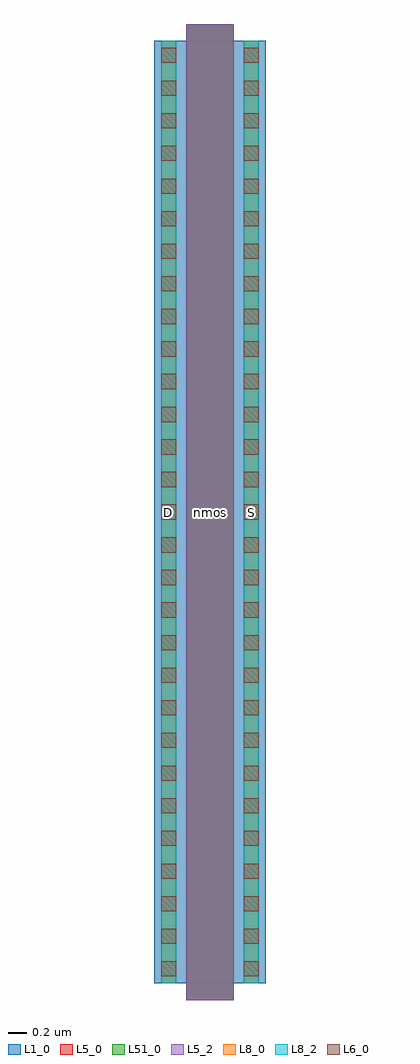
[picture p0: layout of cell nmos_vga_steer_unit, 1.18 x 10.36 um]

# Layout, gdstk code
import gdstk
lib = gdstk.Library(unit=1e-6, precision=1e-09)
def R(c, l, rs):  # rectangles x0, y0, x1, y1
    for r in rs: c.add(gdstk.rectangle(r[:2], r[2:], *l))
def A(c, l, x, y, w, h, nx, ny, dx, dy):  # array of equal rectangles
    R(c, l, [(x+i*dx, y+j*dy, x+i*dx+w, y+j*dy+h) for i in range(nx) for j in range(ny)])
L1_0 = (1, 0)
L5_0 = (5, 0)
L5_2 = (5, 2)
L6_0 = (6, 0)
L8_0 = (8, 0)
L8_2 = (8, 2)
L51_0 = (51, 0)

nmos_vga_steer_unit = lib.new_cell('nmos_vga_steer_unit')
R(nmos_vga_steer_unit, L1_0, [(0,0,0.3,0.3), (0,0,1.18,10), (0.88,0,1.18,0.3)])
R(nmos_vga_steer_unit, L5_0, [(0.34,-0.18,0.84,10.18)])
R(nmos_vga_steer_unit, L5_2, [(0.34,-0.18,0.84,10.18)])
A(nmos_vga_steer_unit, L6_0, 0.07, 0.07, 0.16, 0.16, 1, 4, 0, 0.345)
A(nmos_vga_steer_unit, L6_0, 0.95, 0.07, 0.16, 0.16, 1, 4, 0, 0.345)
A(nmos_vga_steer_unit, L6_0, 0.07, 1.455, 0.16, 0.16, 1, 3, 0, 0.345)
A(nmos_vga_steer_unit, L6_0, 0.95, 1.455, 0.16, 0.16, 1, 3, 0, 0.345)
A(nmos_vga_steer_unit, L6_0, 0.07, 2.495, 0.16, 0.16, 1, 4, 0, 0.345)
A(nmos_vga_steer_unit, L6_0, 0.95, 2.495, 0.16, 0.16, 1, 4, 0, 0.345)
A(nmos_vga_steer_unit, L6_0, 0.07, 3.88, 0.16, 0.16, 1, 3, 0, 0.345)
A(nmos_vga_steer_unit, L6_0, 0.95, 3.88, 0.16, 0.16, 1, 3, 0, 0.345)
A(nmos_vga_steer_unit, L6_0, 0.07, 4.92, 0.16, 0.16, 1, 4, 0, 0.345)
A(nmos_vga_steer_unit, L6_0, 0.95, 4.92, 0.16, 0.16, 1, 4, 0, 0.345)
A(nmos_vga_steer_unit, L6_0, 0.07, 6.305, 0.16, 0.16, 1, 3, 0, 0.345)
A(nmos_vga_steer_unit, L6_0, 0.95, 6.305, 0.16, 0.16, 1, 3, 0, 0.345)
A(nmos_vga_steer_unit, L6_0, 0.07, 7.345, 0.16, 0.16, 1, 4, 0, 0.345)
A(nmos_vga_steer_unit, L6_0, 0.95, 7.345, 0.16, 0.16, 1, 4, 0, 0.345)
A(nmos_vga_steer_unit, L6_0, 0.07, 8.73, 0.16, 0.16, 1, 3, 0, 0.345)
A(nmos_vga_steer_unit, L6_0, 0.95, 8.73, 0.16, 0.16, 1, 3, 0, 0.345)
R(nmos_vga_steer_unit, L6_0, [(0.07,9.77,0.23,9.93), (0.95,9.77,1.11,9.93)])
R(nmos_vga_steer_unit, L8_0, [(0.07,0,0.23,10), (0.95,0,1.11,10)])
R(nmos_vga_steer_unit, L8_2, [(0.07,0,0.23,10), (0.95,0,1.11,10)])
R(nmos_vga_steer_unit, L51_0, [(0.34,-0.18,0.84,10.18)])
nmos_vga_steer_unit.add(gdstk.Label('nmos', (0.59,5), layer=63, texttype=0))
nmos_vga_steer_unit.add(gdstk.Label('nmos', (0.59,5), layer=51, texttype=0))
nmos_vga_steer_unit.add(gdstk.Label('D', (0.15,5), layer=8, texttype=25))
nmos_vga_steer_unit.add(gdstk.Label('S', (1.03,5), layer=8, texttype=25))

lib.write_gds('nmos_vga_steer_unit.gds')
